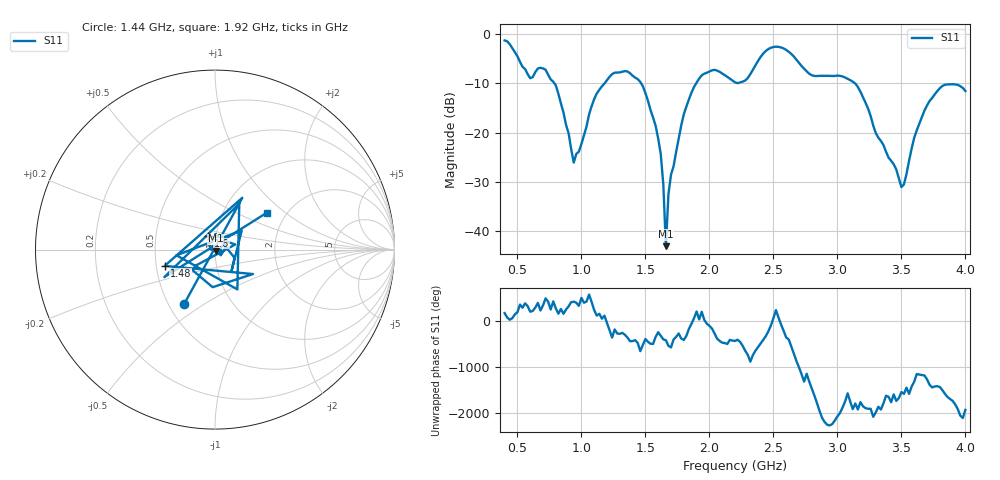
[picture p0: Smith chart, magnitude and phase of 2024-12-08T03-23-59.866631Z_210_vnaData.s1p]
!Created with skrf (http://scikit-rf.org).
# Hz S RI R 50.0
!freq ReS11 ImS11
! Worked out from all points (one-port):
!   181 points, 400 MHz to 4 GHz, reference 50 ohm
!   lowest |S11| = -43.1 dB at 1.66 GHz (marker M1), VSWR 1.01, Z = 50.4 - j0.611 ohm
!   |S11| at or under -10 dB: 788.6 MHz to 1.181 GHz (392.9 MHz wide, 39.9 % of centre); 1.466 GHz to 1.897 GHz (430.7 MHz wide, 25.6 % of centre); 3.137 GHz to end of sweep
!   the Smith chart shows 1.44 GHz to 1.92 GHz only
!   S11 on the Smith chart (normalised r, x): 1.44 GHz: 0.60, -0.41; 1.48 GHz: 0.55, -0.11; 1.6 GHz: 0.92, +0.14; 1.92 GHz: 1.59, +0.74
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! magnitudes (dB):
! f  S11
! 400 MHz  -1.3
! 600 MHz  -9.0
! 720 MHz  -7.3
! 860 MHz  -16.0
! 940 MHz  -26.1
! 1.12 GHz  -12.1
! 1.3 GHz  -7.8
! 1.44 GHz  -9.2
! 1.48 GHz  -10.6
! 1.6 GHz  -21.2
! 1.64 GHz  -30.6
! 1.66 GHz  -43.1
! 1.68 GHz  -32.6
! 1.76 GHz  -21.2
! 1.82 GHz  -14.7
! 1.92 GHz  -9.1
! 2.04 GHz  -7.3
! 2.2 GHz  -9.8
! 2.48 GHz  -2.8
! 2.66 GHz  -4.6
! 2.8 GHz  -8.4
! 3.1 GHz  -9.4
! 3.18 GHz  -11.7
! 3.5 GHz  -31.1
! 3.56 GHz  -25.7
! 3.68 GHz  -15.6
! 3.78 GHz  -11.6
! 4 GHz  -11.6
